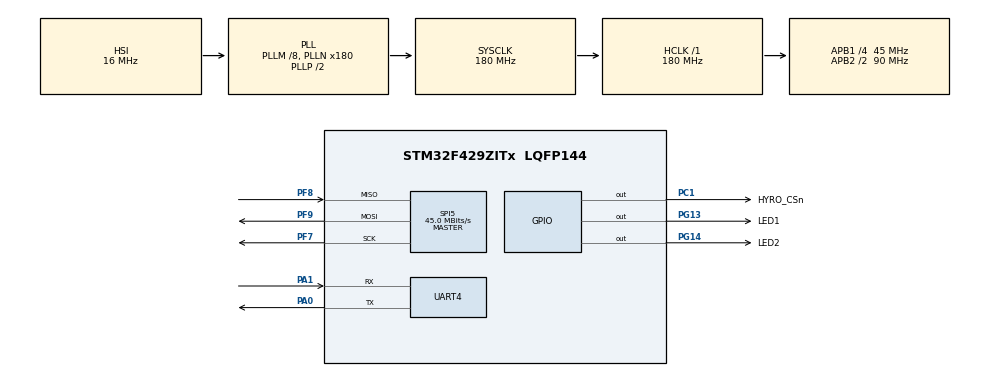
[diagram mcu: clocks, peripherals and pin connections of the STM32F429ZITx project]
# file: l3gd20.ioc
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Mcu.Family=STM32F4
Mcu.Name=STM32F429ZITx
Mcu.Package=LQFP144
NVIC.PriorityGroup=NVIC_PRIORITYGROUP_4
NVIC.UART4_IRQn=true\:0\:0\:false\:false\:true\:true
PA0/WKUP.Mode=Asynchronous
PA0/WKUP.Signal=UART4_TX
PA1.Mode=Asynchronous
PA1.Signal=UART4_RX
PC1.GPIO_Label=HYRO_CSn
PC1.GPIO_PuPd=GPIO_PULLUP
PC1.GPIO_Speed=GPIO_SPEED_FREQ_HIGH
PC1.PinState=GPIO_PIN_SET
PC1.Signal=GPIO_Output
PF7.Mode=Full_Duplex_Master
PF7.Signal=SPI5_SCK
PF8.Mode=Full_Duplex_Master
PF8.Signal=SPI5_MISO
PF9.Mode=Full_Duplex_Master
PF9.Signal=SPI5_MOSI
PG13.GPIO_Label=LED1
PG13.Signal=GPIO_Output
PG14.GPIO_Label=LED2
PG14.Signal=GPIO_Output
ProjectManager.HeapSize=0x200
ProjectManager.StackSize=0x400
ProjectManager.TargetToolchain=MDK-ARM V5
RCC.48MHZClocksFreq_Value=90000000
RCC.AHBFreq_Value=180000000
RCC.APB1CLKDivider=RCC_HCLK_DIV4
RCC.APB1Freq_Value=45000000
RCC.APB1TimFreq_Value=90000000
RCC.APB2CLKDivider=RCC_HCLK_DIV2
RCC.APB2Freq_Value=90000000
RCC.APB2TimFreq_Value=180000000
RCC.CortexFreq_Value=180000000
RCC.HCLKFreq_Value=180000000
RCC.HSE_VALUE=25000000
RCC.HSI_VALUE=16000000
RCC.LSE_VALUE=32768
RCC.PLLM=8
RCC.PLLN=180
RCC.SYSCLKFreq_VALUE=180000000
RCC.SYSCLKSource=RCC_SYSCLKSOURCE_PLLCLK
RCC.VCOOutputFreq_Value=360000000
SPI5.BaudRatePrescaler=SPI_BAUDRATEPRESCALER_2
SPI5.CalculateBaudRate=45.0 MBits/s
SPI5.DataSize=SPI_DATASIZE_8BIT
SPI5.Direction=SPI_DIRECTION_2LINES
SPI5.Mode=SPI_MODE_MASTER
SPI5.VirtualType=VM_MASTER
UART4.VirtualMode=Asynchronous
board=custom

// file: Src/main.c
/**
  ******************************************************************************
  * @file           : main.c
  * @brief          : Main program body
  ******************************************************************************
  ** This notice applies to any and all portions of this file
  * that are not between comment pairs USER CODE BEGIN and
  * USER CODE END. Other portions of this file, whether
  * inserted by the user or by software development tools
  * are owned by their respective copyright owners.
  *
  * COPYRIGHT(c) 2019 STMicroelectronics
  *
  * Redistribution and use in source and binary forms, with or without modification,
  * are permitted provided that the following conditions are met:
  *   1. Redistributions of source code must retain the above copyright notice,
  *      this list of conditions and the following disclaimer.
  *   2. Redistributions in binary form must reproduce the above copyright notice,
  *      this list of conditions and the following disclaimer in the documentation
  *      and/or other materials provided with the distribution.
  *   3. Neither the name of STMicroelectronics nor the names of its contributors
  *      may be used to endorse or promote products derived from this software
  *      without specific prior written permission.
  *
  * THIS SOFTWARE IS PROVIDED BY THE COPYRIGHT HOLDERS AND CONTRIBUTORS "AS IS"
  * AND ANY EXPRESS OR IMPLIED WARRANTIES, INCLUDING, BUT NOT LIMITED TO, THE
  * IMPLIED WARRANTIES OF MERCHANTABILITY AND FITNESS FOR A PARTICULAR PURPOSE ARE
  * DISCLAIMED. IN NO EVENT SHALL THE COPYRIGHT HOLDER OR CONTRIBUTORS BE LIABLE
  * FOR ANY DIRECT, INDIRECT, INCIDENTAL, SPECIAL, EXEMPLARY, OR CONSEQUENTIAL
  * DAMAGES (INCLUDING, BUT NOT LIMITED TO, PROCUREMENT OF SUBSTITUTE GOODS OR
  * SERVICES; LOSS OF USE, DATA, OR PROFITS; OR BUSINESS INTERRUPTION) HOWEVER
  * CAUSED AND ON ANY THEORY OF LIABILITY, WHETHER IN CONTRACT, STRICT LIABILITY,
  * OR TORT (INCLUDING NEGLIGENCE OR OTHERWISE) ARISING IN ANY WAY OUT OF THE USE
  * OF THIS SOFTWARE, EVEN IF ADVISED OF THE POSSIBILITY OF SUCH DAMAGE.
  *
  ******************************************************************************
  */
#include "main.h"
#include "stm32f4xx_hal.h"

SPI_HandleTypeDef hspi5;

UART_HandleTypeDef huart4;

/* USER CODE BEGIN PV */
/* Private variables ---------------------------------------------------------*/
uint8_t counter = 0;
/* USER CODE END PV */

void SystemClock_Config(void);
static void MX_GPIO_Init(void);
static void MX_SPI5_Init(void);
static void MX_UART4_Init(void);

/* USER CODE BEGIN PFP */
/* Private function prototypes -----------------------------------------------*/
void HyroInit(uint8_t address, uint8_t dataIn, uint8_t data)
{
    HAL_GPIO_WritePin(HYRO_CSn_GPIO_Port, HYRO_CSn_Pin, GPIO_PIN_RESET);
	HAL_SPI_TransmitReceive(&hspi5, &address, &data, sizeof(data), 0x1000);
	address = dataIn;
	HAL_SPI_TransmitReceive(&hspi5, &address, &data, sizeof(data), 0x1000);
	HAL_GPIO_WritePin(HYRO_CSn_GPIO_Port, HYRO_CSn_Pin, GPIO_PIN_SET);
}

uint16_t getHyroData(uint8_t address, uint8_t data)
{
    uint8_t data_return[2] = {0};
    uint16_t out = 0;
   	HAL_GPIO_WritePin(HYRO_CSn_GPIO_Port, HYRO_CSn_Pin, GPIO_PIN_RESET);
	HAL_SPI_TransmitReceive(&hspi5, &address, &data, sizeof(data), 0x1000);
	address = 0x00;
	HAL_SPI_TransmitReceive(&hspi5, &address, &data_return[0], sizeof(data_return[0]), 0x1000);
	address = 0x00;
	HAL_SPI_TransmitReceive(&hspi5, &address, &data_return[1], sizeof(data_return[1]), 0x1000);
	HAL_GPIO_WritePin(HYRO_CSn_GPIO_Port, HYRO_CSn_Pin, GPIO_PIN_SET);
    out = data_return[0] | (data_return[1] << 8);
    return out;
}
/* USER CODE END PFP */

int main(void)
{
  /* USER CODE BEGIN 1 */
	uint8_t data = 0;
    uint16_t OutData[3] = {0};
  /* USER CODE END 1 */

  /* MCU Configuration----------------------------------------------------------*/

  /* Reset of all peripherals, Initializes the Flash interface and the Systick. */
  HAL_Init();

  /* Configure the system clock */
  SystemClock_Config();

  /* Initialize all configured peripherals */
  MX_GPIO_Init();
  MX_SPI5_Init();
  MX_UART4_Init();
  /* USER CODE BEGIN 2 */
  uint8_t mag = 0xAA;
  HAL_GPIO_WritePin(LED1_GPIO_Port, LED1_Pin, 1);
  HAL_Delay(1000);
  HyroInit(0x20, 0xCF, data);
  HyroInit(0x23, 0x30, data);
  HAL_Delay(500);
  HAL_GPIO_WritePin(LED1_GPIO_Port, LED1_Pin, 0);

  /* USER CODE END 2 */

  /* Infinite loop */
  while (1)
  {

  /* USER CODE BEGIN 3 */
      mag = 0xBB;
      HAL_UART_Transmit(&huart4, &mag, 1, 0x1000);
      OutData[0] = getHyroData(0xE8, data);
      OutData[1] = getHyroData(0xEA, data);
      OutData[2] = getHyroData(0xEC, data);
      HAL_UART_Transmit(&huart4, (uint8_t*)&OutData[0], 6, 0x1000);
      mag = 0xCC;
      HAL_UART_Transmit(&huart4, &mag, 1, 0x1000);
      HAL_Delay(100);
  }
  /* USER CODE END 3 */

}

void SystemClock_Config(void)
{

  RCC_OscInitTypeDef RCC_OscInitStruct;
  RCC_ClkInitTypeDef RCC_ClkInitStruct;

    /**Configure the main internal regulator output voltage
    */
  __HAL_RCC_PWR_CLK_ENABLE();

  __HAL_PWR_VOLTAGESCALING_CONFIG(PWR_REGULATOR_VOLTAGE_SCALE1);

    /**Initializes the CPU, AHB and APB busses clocks
    */
  RCC_OscInitStruct.OscillatorType = RCC_OSCILLATORTYPE_HSI;
  RCC_OscInitStruct.HSIState = RCC_HSI_ON;
  RCC_OscInitStruct.HSICalibrationValue = 16;
  RCC_OscInitStruct.PLL.PLLState = RCC_PLL_ON;
  RCC_OscInitStruct.PLL.PLLSource = RCC_PLLSOURCE_HSI;
  RCC_OscInitStruct.PLL.PLLM = 8;
  RCC_OscInitStruct.PLL.PLLN = 180;
  RCC_OscInitStruct.PLL.PLLP = RCC_PLLP_DIV2;
  RCC_OscInitStruct.PLL.PLLQ = 4;
  if (HAL_RCC_OscConfig(&RCC_OscInitStruct) != HAL_OK)
  {
    _Error_Handler(__FILE__, __LINE__);
  }

    /**Activate the Over-Drive mode
    */
  if (HAL_PWREx_EnableOverDrive() != HAL_OK)
  {
    _Error_Handler(__FILE__, __LINE__);
  }

    /**Initializes the CPU, AHB and APB busses clocks
    */
  RCC_ClkInitStruct.ClockType = RCC_CLOCKTYPE_HCLK|RCC_CLOCKTYPE_SYSCLK
                              |RCC_CLOCKTYPE_PCLK1|RCC_CLOCKTYPE_PCLK2;
  RCC_ClkInitStruct.SYSCLKSource = RCC_SYSCLKSOURCE_PLLCLK;
  RCC_ClkInitStruct.AHBCLKDivider = RCC_SYSCLK_DIV1;
  RCC_ClkInitStruct.APB1CLKDivider = RCC_HCLK_DIV4;
  RCC_ClkInitStruct.APB2CLKDivider = RCC_HCLK_DIV2;

  if (HAL_RCC_ClockConfig(&RCC_ClkInitStruct, FLASH_LATENCY_5) != HAL_OK)
  {
    _Error_Handler(__FILE__, __LINE__);
  }

    /**Configure the Systick interrupt time
    */
  HAL_SYSTICK_Config(HAL_RCC_GetHCLKFreq()/1000);

    /**Configure the Systick
    */
  HAL_SYSTICK_CLKSourceConfig(SYSTICK_CLKSOURCE_HCLK);

  /* SysTick_IRQn interrupt configuration */
  HAL_NVIC_SetPriority(SysTick_IRQn, 0, 0);
}

/* SPI5 init function */
static void MX_SPI5_Init(void)
{

  /* SPI5 parameter configuration*/
  hspi5.Instance = SPI5;
  hspi5.Init.Mode = SPI_MODE_MASTER;
  hspi5.Init.Direction = SPI_DIRECTION_2LINES;
  hspi5.Init.DataSize = SPI_DATASIZE_8BIT;
  hspi5.Init.CLKPolarity = SPI_POLARITY_LOW;
  hspi5.Init.CLKPhase = SPI_PHASE_1EDGE;
  hspi5.Init.NSS = SPI_NSS_SOFT;
  hspi5.Init.BaudRatePrescaler = SPI_BAUDRATEPRESCALER_2;
  hspi5.Init.FirstBit = SPI_FIRSTBIT_MSB;
  hspi5.Init.TIMode = SPI_TIMODE_DISABLE;
  hspi5.Init.CRCCalculation = SPI_CRCCALCULATION_DISABLE;
  hspi5.Init.CRCPolynomial = 10;
  if (HAL_SPI_Init(&hspi5) != HAL_OK)
  {
    _Error_Handler(__FILE__, __LINE__);
  }

}

/* UART4 init function */
static void MX_UART4_Init(void)
{

  huart4.Instance = UART4;
  huart4.Init.BaudRate = 115200;
  huart4.Init.WordLength = UART_WORDLENGTH_8B;
  huart4.Init.StopBits = UART_STOPBITS_1;
  huart4.Init.Parity = UART_PARITY_NONE;
  huart4.Init.Mode = UART_MODE_TX_RX;
  huart4.Init.HwFlowCtl = UART_HWCONTROL_NONE;
  huart4.Init.OverSampling = UART_OVERSAMPLING_16;
  if (HAL_UART_Init(&huart4) != HAL_OK)
  {
    _Error_Handler(__FILE__, __LINE__);
  }

}

/** Configure pins as
        * Analog
        * Input
        * Output
        * EVENT_OUT
        * EXTI
*/
static void MX_GPIO_Init(void)
{

  GPIO_InitTypeDef GPIO_InitStruct;

  /* GPIO Ports Clock Enable */
  __HAL_RCC_GPIOF_CLK_ENABLE();
  __HAL_RCC_GPIOC_CLK_ENABLE();
  __HAL_RCC_GPIOA_CLK_ENABLE();
  __HAL_RCC_GPIOG_CLK_ENABLE();

  /*Configure GPIO pin Output Level */
  HAL_GPIO_WritePin(HYRO_CSn_GPIO_Port, HYRO_CSn_Pin, GPIO_PIN_SET);

  /*Configure GPIO pin Output Level */
  HAL_GPIO_WritePin(GPIOG, LED1_Pin|LED2_Pin, GPIO_PIN_RESET);

  /*Configure GPIO pin : HYRO_CSn_Pin */
  GPIO_InitStruct.Pin = HYRO_CSn_Pin;
  GPIO_InitStruct.Mode = GPIO_MODE_OUTPUT_PP;
  GPIO_InitStruct.Pull = GPIO_PULLUP;
  GPIO_InitStruct.Speed = GPIO_SPEED_FREQ_HIGH;
  HAL_GPIO_Init(HYRO_CSn_GPIO_Port, &GPIO_InitStruct);

  /*Configure GPIO pins : LED1_Pin LED2_Pin */
  GPIO_InitStruct.Pin = LED1_Pin|LED2_Pin;
  GPIO_InitStruct.Mode = GPIO_MODE_OUTPUT_PP;
  GPIO_InitStruct.Pull = GPIO_NOPULL;
  GPIO_InitStruct.Speed = GPIO_SPEED_FREQ_LOW;
  HAL_GPIO_Init(GPIOG, &GPIO_InitStruct);

}

void _Error_Handler(char *file, int line)
{
  while(1)
  {
  }
}

/************************ (C) COPYRIGHT STMicroelectronics *****END OF FILE****/
